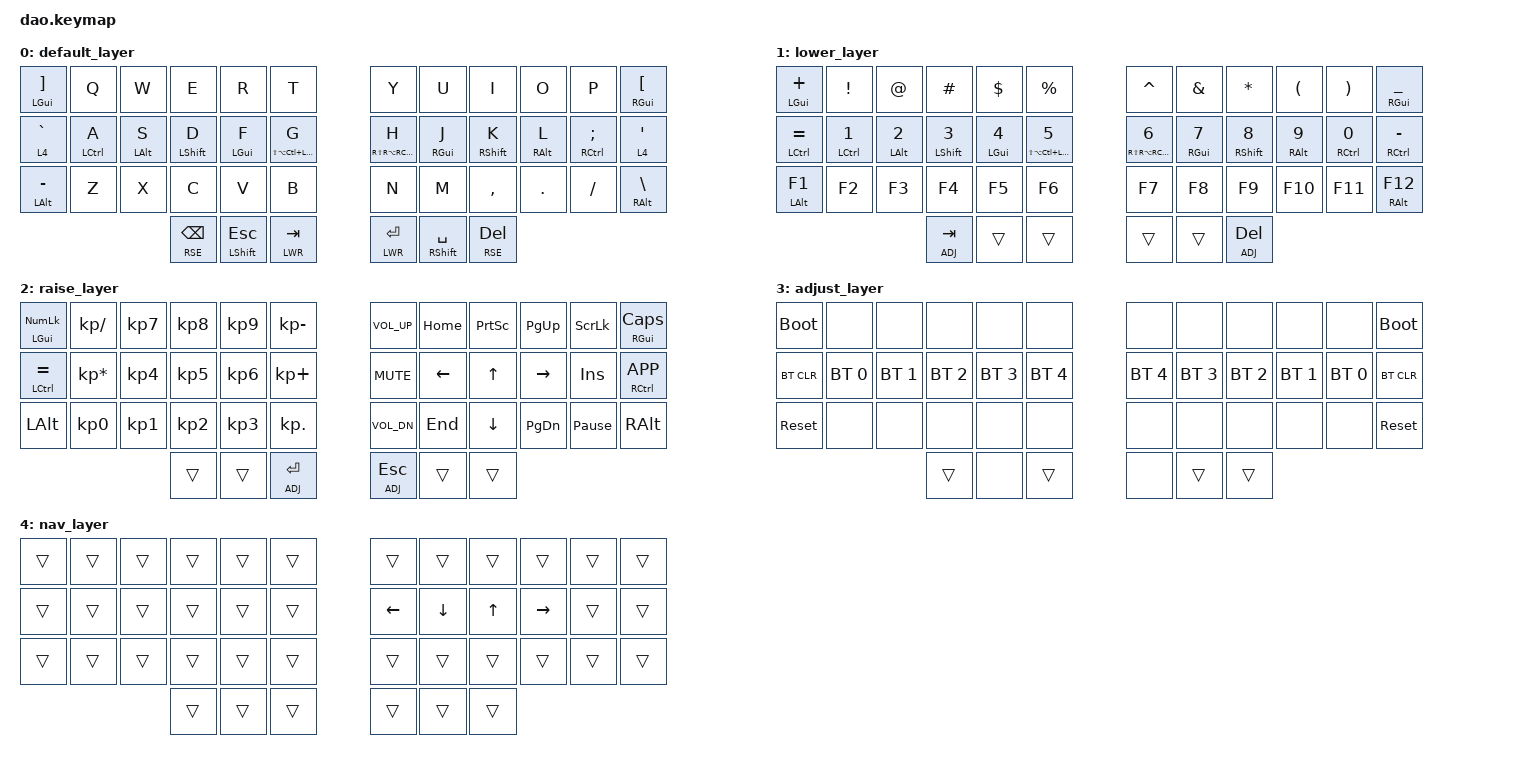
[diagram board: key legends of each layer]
/*
 * Copyright (c) 2021 Rafael Yumagulov
 *
 * SPDX-License-Identifier: MIT
 */

#include <behaviors.dtsi>
#include <dt-bindings/zmk/bt.h>
#include <dt-bindings/zmk/keys.h>

#define DEF 0
#define LWR 1
#define RSE 2
#define ADJ 3

&lt {
    quick_tap_ms = <200>;
};

&mt {
    quick_tap_ms = <200>;
};

/ {
    chosen {
        zmk,matrix_transform = &default_transform;

        // zmk,matrix_transform = &extra_keys_transform;
    };
};

/ {
    behaviors {
        lh_pht: left_hand_positional_hold_tap {
            compatible = "zmk,behavior-hold-tap";
            label = "LEFT_POSITIONAL_HOLD_TAP";
            bindings =
                <&kp>,
                <&kp>;

            #binding-cells = <2>;
            tapping-term-ms = <280>;
            quick-tap-ms = <175>;
            flavor = "balanced";
            hold-trigger-key-positions = <6 7 8 9 10 11 18 19 20 6 7 8 9 10 11 18 19 20 21 22 23 30 31 32 33 34 35 39 40 41>;
            global-quick-tap;
            hold-trigger-on-release;
        };
        rh_pht: right_hand_positional_hold_tap {
            compatible = "zmk,behavior-hold-tap";
            label = "RIGHT_POSITIONAL_HOLD_TAP";
            bindings =
                <&kp>,
                <&kp>;

            #binding-cells = <2>;
            tapping-term-ms = <280>;
            quick-tap-ms = <175>;
            flavor = "balanced";
            hold-trigger-key-positions = <0 1 2 3 4 5 12 13 14 15 16 17 24 25 26 27 28 29 36 37 38>;
            global-quick-tap;
            hold-trigger-on-release;
        };
    };

    keymap {
        compatible = "zmk,keymap";

        default_layer {
            bindings = <
&mt LGUI RBKT   &kp Q            &kp W           &kp E                 &kp R           &kp T                       &kp Y                       &kp U            &kp I            &kp O           &kp P                    &mt RGUI LEFT_BRACKET
&lt 4 GRAVE     &lh_pht LCTRL A  &lh_pht LALT S  &lh_pht LEFT_SHIFT D  &lh_pht LGUI F  &lh_pht LS(LA(LC(LGUI))) G  &rh_pht RS(RA(RC(RGUI))) H  &rh_pht RGUI J   &rh_pht RSHFT K  &rh_pht RALT L  &rh_pht RCTRL SEMICOLON  &lt 4 SQT
&mt LALT MINUS  &kp Z            &kp X           &kp C                 &kp V           &kp B                       &kp N                       &kp M            &kp COMMA        &kp DOT         &kp FSLH                 &mt RALT BSLH
                                                 &lt RSE BACKSPACE     &mt LSHFT ESC   &lt LWR TAB                 &lt LWR RET                 &mt RSHFT SPACE  &lt RSE DEL
            >;
        };

        lower_layer {
            bindings = <
&mt LGUI PLUS    &kp EXCLAMATION   &kp AT           &kp HASH           &kp DLLR         &kp PRCNT                    &kp CARET                    &kp AMPS         &kp STAR           &kp LPAR         &kp RPAR          &mt RGUI UNDER
&mt LCTRL EQUAL  &lh_pht LCTRL N1  &lh_pht LALT N2  &lh_pht LSHIFT N3  &lh_pht LGUI N4  &lh_pht LS(LA(LC(LGUI))) N5  &rh_pht RS(RA(RC(RGUI))) N6  &rh_pht RGUI N7  &rh_pht RSHIFT N8  &rh_pht RALT N9  &rh_pht RCTRL N0  &mt RCTRL MINUS
&mt LALT F1      &kp F2            &kp F3           &kp F4             &kp F5           &kp F6                       &kp F7                       &kp F8           &kp F9             &kp F10          &kp F11           &mt RALT F12
                                                    &lt ADJ TAB        &trans           &trans                       &trans                       &trans           &lt ADJ DEL
            >;
        };

        raise_layer {
            bindings = <
&mt LGUI KP_NUM  &kp KP_SLASH     &kp KP_N7  &kp KP_N8  &kp KP_N9  &kp KP_MINUS  &kp C_VOL_UP  &kp HOME  &kp PSCRN  &kp PG_UP  &kp SLCK         &mt RGUI CAPS
&mt LCTRL EQUAL  &kp KP_MULTIPLY  &kp KP_N4  &kp KP_N5  &kp KP_N6  &kp KP_PLUS   &kp C_MUTE    &kp LEFT  &kp UP     &kp RIGHT  &kp INS          &mt RCTRL K_APP
&kp LALT         &kp KP_N0        &kp KP_N1  &kp KP_N2  &kp KP_N3  &kp KP_DOT    &kp C_VOL_DN  &kp END   &kp DOWN   &kp PG_DN  &kp PAUSE_BREAK  &kp RALT
                                             &trans     &trans     &lt ADJ RET   &lt ADJ ESC   &trans    &trans
            >;
        };

        adjust_layer {
            bindings = <
&bootloader  &none         &none         &none         &none         &none         &none         &none         &none         &none         &none         &bootloader
&bt BT_CLR   &bt BT_SEL 0  &bt BT_SEL 1  &bt BT_SEL 2  &bt BT_SEL 3  &bt BT_SEL 4  &bt BT_SEL 4  &bt BT_SEL 3  &bt BT_SEL 2  &bt BT_SEL 1  &bt BT_SEL 0  &bt BT_CLR
&sys_reset   &none         &none         &none         &none         &none         &none         &none         &none         &none         &none         &sys_reset
                                         &trans        &none         &trans        &none         &trans        &trans
            >;
        };

        nav_layer {
            bindings = <
&trans  &trans  &trans  &trans  &trans  &trans  &trans    &trans    &trans  &trans     &trans  &trans
&trans  &trans  &trans  &trans  &trans  &trans  &kp LEFT  &kp DOWN  &kp UP  &kp RIGHT  &trans  &trans
&trans  &trans  &trans  &trans  &trans  &trans  &trans    &trans    &trans  &trans     &trans  &trans
                        &trans  &trans  &trans  &trans    &trans    &trans
            >;
        };
    };
};
